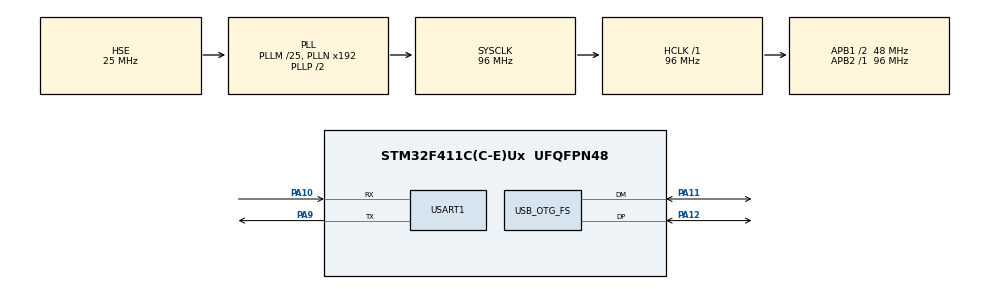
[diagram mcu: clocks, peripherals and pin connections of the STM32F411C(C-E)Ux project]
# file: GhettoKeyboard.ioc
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Dma.Request0=USART1_RX
Dma.USART1_RX.0.Direction=DMA_PERIPH_TO_MEMORY
Dma.USART1_RX.0.FIFOMode=DMA_FIFOMODE_DISABLE
Dma.USART1_RX.0.Instance=DMA2_Stream2
Dma.USART1_RX.0.MemDataAlignment=DMA_MDATAALIGN_BYTE
Dma.USART1_RX.0.MemInc=DMA_MINC_ENABLE
Dma.USART1_RX.0.Mode=DMA_CIRCULAR
Dma.USART1_RX.0.PeriphDataAlignment=DMA_PDATAALIGN_BYTE
Dma.USART1_RX.0.PeriphInc=DMA_PINC_DISABLE
Dma.USART1_RX.0.Priority=DMA_PRIORITY_LOW
FREERTOS.Tasks01=defaultTask,24,512,StartDefaultTask,Default,NULL,Dynamic,NULL,NULL
FREERTOS.configUSE_NEWLIB_REENTRANT=1
Mcu.Family=STM32F4
Mcu.Name=STM32F411C(C-E)Ux
Mcu.Package=UFQFPN48
NVIC.DMA2_Stream2_IRQn=true\:5\:0\:false\:false\:true\:true\:false\:true\:true
NVIC.OTG_FS_IRQn=true\:5\:0\:false\:false\:true\:true\:false\:true\:true
NVIC.PriorityGroup=NVIC_PRIORITYGROUP_4
NVIC.TIM1_UP_TIM10_IRQn=true\:15\:0\:false\:false\:true\:false\:false\:true\:true
NVIC.TimeBase=TIM1_UP_TIM10_IRQn
NVIC.TimeBaseIP=TIM10
NVIC.USART1_IRQn=true\:5\:0\:false\:false\:true\:true\:true\:true\:true
PA10.Mode=Asynchronous
PA10.Signal=USART1_RX
PA11.Mode=Device_Only
PA11.Signal=USB_OTG_FS_DM
PA12.Mode=Device_Only
PA12.Signal=USB_OTG_FS_DP
PA13.Mode=Serial_Wire
PA13.Signal=SYS_JTMS-SWDIO
PA14.Mode=Serial_Wire
PA14.Signal=SYS_JTCK-SWCLK
PA9.Mode=Asynchronous
PA9.Signal=USART1_TX
PH0\ -\ OSC_IN.Mode=HSE-External-Oscillator
PH0\ -\ OSC_IN.Signal=RCC_OSC_IN
PH1\ -\ OSC_OUT.Mode=HSE-External-Oscillator
PH1\ -\ OSC_OUT.Signal=RCC_OSC_OUT
ProjectManager.HeapSize=0x200
ProjectManager.StackSize=0x400
ProjectManager.TargetToolchain=STM32CubeIDE
RCC.48MHZClocksFreq_Value=48000000
RCC.AHBFreq_Value=96000000
RCC.APB1CLKDivider=RCC_HCLK_DIV2
RCC.APB1Freq_Value=48000000
RCC.APB1TimFreq_Value=96000000
RCC.APB2Freq_Value=96000000
RCC.APB2TimFreq_Value=96000000
RCC.CortexFreq_Value=96000000
RCC.HCLKFreq_Value=96000000
RCC.HSE_VALUE=25000000
RCC.HSI_VALUE=16000000
RCC.LSE_VALUE=32768
RCC.PLLM=25
RCC.SYSCLKFreq_VALUE=96000000
RCC.SYSCLKSource=RCC_SYSCLKSOURCE_PLLCLK
RCC.VCOOutputFreq_Value=192000000
USART1.VirtualMode=VM_ASYNC
USB_DEVICE.CLASS_NAME_FS=HID
USB_DEVICE.HID_FS_BINTERVAL=0x1
USB_DEVICE.VirtualMode=Hid
USB_DEVICE.VirtualModeFS=Hid_FS
USB_OTG_FS.VirtualMode=Device_Only
VP_FREERTOS_VS_CMSIS_V2.Mode=CMSIS_V2
VP_SYS_VS_tim10.Mode=TIM10
VP_USB_DEVICE_VS_USB_DEVICE_HID_FS.Mode=HID_FS
board=custom

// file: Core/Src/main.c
/* USER CODE BEGIN Header */
/**
  ******************************************************************************
  * @file           : main.c
  * @brief          : Main program body
  ******************************************************************************
  * @attention
  *
  * Copyright (c) 2022 STMicroelectronics.
  * All rights reserved.
  *
  * This software is licensed under terms that can be found in the LICENSE file
  * in the root directory of this software component.
  * If no LICENSE file comes with this software, it is provided AS-IS.
  *
  ******************************************************************************
  */
/* USER CODE END Header */
#include "main.h"
#include "cmsis_os.h"
#include "usb_device.h"

/* USER CODE BEGIN Includes */

#include "usbd_hid.h"
#include "usb_hid_keys.h"

/* USER CODE END Includes */

 UART_HandleTypeDef huart1;
DMA_HandleTypeDef hdma_usart1_rx;

/* Definitions for defaultTask */
osThreadId_t defaultTaskHandle;
const osThreadAttr_t defaultTask_attributes = {
  .name = "defaultTask",
  .stack_size = 512 * 4,
  .priority = (osPriority_t) osPriorityNormal,
};

void SystemClock_Config(void);
static void MX_GPIO_Init(void);
static void MX_DMA_Init(void);
static void MX_USART1_UART_Init(void);
void StartDefaultTask(void *argument);

/* USER CODE BEGIN 0 */

extern USBD_HandleTypeDef hUsbDeviceFS;

typedef struct __attribute__((packed)) {
	uint8_t MODIFIER;
	uint8_t RESERVED;
	uint8_t KEYCODES[6];
} subKeyBoard;

subKeyBoard keyBoardHIDsub = {0};

osTimerId_t keyTimers[6];
osSemaphoreId_t keysSemaphore;
osMutexId_t reportMutex;

uint8_t uartBuf[128];
uint16_t uartBufIdx;

/* USER CODE END 0 */

int main(void)
{

  /* MCU Configuration--------------------------------------------------------*/

  /* Reset of all peripherals, Initializes the Flash interface and the Systick. */
  HAL_Init();

  /* Configure the system clock */
  SystemClock_Config();

  /* Initialize all configured peripherals */
  MX_GPIO_Init();
  MX_DMA_Init();
  MX_USART1_UART_Init();
  /* USER CODE BEGIN 2 */

  HAL_Delay(500);

  /* USER CODE END 2 */

  /* Init scheduler */
  osKernelInitialize();

  /* Create the thread(s) */
  /* creation of defaultTask */
  defaultTaskHandle = osThreadNew(StartDefaultTask, NULL, &defaultTask_attributes);

  /* Start scheduler */
  osKernelStart();

  /* We should never get here as control is now taken by the scheduler */
  /* Infinite loop */
  while (1)
  {

  }
}

void SystemClock_Config(void)
{
  RCC_OscInitTypeDef RCC_OscInitStruct = {0};
  RCC_ClkInitTypeDef RCC_ClkInitStruct = {0};

  /** Configure the main internal regulator output voltage
  */
  __HAL_RCC_PWR_CLK_ENABLE();
  __HAL_PWR_VOLTAGESCALING_CONFIG(PWR_REGULATOR_VOLTAGE_SCALE1);

  /** Initializes the RCC Oscillators according to the specified parameters
  * in the RCC_OscInitTypeDef structure.
  */
  RCC_OscInitStruct.OscillatorType = RCC_OSCILLATORTYPE_HSE;
  RCC_OscInitStruct.HSEState = RCC_HSE_ON;
  RCC_OscInitStruct.PLL.PLLState = RCC_PLL_ON;
  RCC_OscInitStruct.PLL.PLLSource = RCC_PLLSOURCE_HSE;
  RCC_OscInitStruct.PLL.PLLM = 25;
  RCC_OscInitStruct.PLL.PLLN = 192;
  RCC_OscInitStruct.PLL.PLLP = RCC_PLLP_DIV2;
  RCC_OscInitStruct.PLL.PLLQ = 4;
  if (HAL_RCC_OscConfig(&RCC_OscInitStruct) != HAL_OK)
  {
    Error_Handler();
  }

  /** Initializes the CPU, AHB and APB buses clocks
  */
  RCC_ClkInitStruct.ClockType = RCC_CLOCKTYPE_HCLK|RCC_CLOCKTYPE_SYSCLK
                              |RCC_CLOCKTYPE_PCLK1|RCC_CLOCKTYPE_PCLK2;
  RCC_ClkInitStruct.SYSCLKSource = RCC_SYSCLKSOURCE_PLLCLK;
  RCC_ClkInitStruct.AHBCLKDivider = RCC_SYSCLK_DIV1;
  RCC_ClkInitStruct.APB1CLKDivider = RCC_HCLK_DIV2;
  RCC_ClkInitStruct.APB2CLKDivider = RCC_HCLK_DIV1;

  if (HAL_RCC_ClockConfig(&RCC_ClkInitStruct, FLASH_LATENCY_3) != HAL_OK)
  {
    Error_Handler();
  }
}

static void MX_USART1_UART_Init(void)
{

  huart1.Instance = USART1;
  huart1.Init.BaudRate = 115200;
  huart1.Init.WordLength = UART_WORDLENGTH_8B;
  huart1.Init.StopBits = UART_STOPBITS_1;
  huart1.Init.Parity = UART_PARITY_NONE;
  huart1.Init.Mode = UART_MODE_TX_RX;
  huart1.Init.HwFlowCtl = UART_HWCONTROL_NONE;
  huart1.Init.OverSampling = UART_OVERSAMPLING_16;
  if (HAL_UART_Init(&huart1) != HAL_OK)
  {
    Error_Handler();
  }

}

static void MX_DMA_Init(void)
{

  /* DMA controller clock enable */
  __HAL_RCC_DMA2_CLK_ENABLE();

  /* DMA interrupt init */
  /* DMA2_Stream2_IRQn interrupt configuration */
  HAL_NVIC_SetPriority(DMA2_Stream2_IRQn, 5, 0);
  HAL_NVIC_EnableIRQ(DMA2_Stream2_IRQn);

}

static void MX_GPIO_Init(void)
{

  /* GPIO Ports Clock Enable */
  __HAL_RCC_GPIOH_CLK_ENABLE();
  __HAL_RCC_GPIOA_CLK_ENABLE();

}

/* USER CODE BEGIN 4 */

void keyDown(uint8_t keyCode, uint8_t modifiers) {
	osMutexAcquire(reportMutex, HAL_MAX_DELAY);
	keyBoardHIDsub.MODIFIER = modifiers;
	USBD_HID_SendReport(&hUsbDeviceFS, (uint8_t*)&keyBoardHIDsub, sizeof(keyBoardHIDsub));
	osMutexRelease(reportMutex);

	osDelay(10);

	osSemaphoreAcquire(keysSemaphore, HAL_MAX_DELAY);
	osMutexAcquire(reportMutex, HAL_MAX_DELAY);
	for (uint8_t i = 6; i-- > 1;) {
		keyBoardHIDsub.KEYCODES[i] = keyBoardHIDsub.KEYCODES[i - 1];
	}
	keyBoardHIDsub.KEYCODES[0] = keyCode;
	USBD_HID_SendReport(&hUsbDeviceFS, (uint8_t*)&keyBoardHIDsub, sizeof(keyBoardHIDsub));
	osMutexRelease(reportMutex);

	for (uint8_t i = 0; i < 6; i++) {
		if (!osTimerIsRunning(keyTimers[i])) {
			osTimerStart(keyTimers[i], 100);
			return;
		}
	}

	Error_Handler(); //all timers taken???
}

void keyUP(void *argument) {
	osMutexAcquire(reportMutex, HAL_MAX_DELAY);
	keyBoardHIDsub.KEYCODES[6 - osSemaphoreGetCount(keysSemaphore) - 1] = 0;
	USBD_HID_SendReport(&hUsbDeviceFS, (uint8_t*)&keyBoardHIDsub, sizeof(keyBoardHIDsub));
	osMutexRelease(reportMutex);
	osSemaphoreRelease(keysSemaphore);
}

void keyIdle() {
	osMutexAcquire(reportMutex, HAL_MAX_DELAY);
	if (keyBoardHIDsub.MODIFIER != 0) {
		keyBoardHIDsub.MODIFIER = 0;
		USBD_HID_SendReport(&hUsbDeviceFS, (uint8_t*)&keyBoardHIDsub, sizeof(keyBoardHIDsub));
	}
	osMutexRelease(reportMutex);
}

uint8_t getChar() {
	uint32_t startTime = osKernelGetTickCount();
	while (uartBufIdx == sizeof(uartBuf) - __HAL_DMA_GET_COUNTER(huart1.hdmarx)) {
		osDelay(1);
		if (osKernelGetTickCount() > startTime + 50) {
			return 0;
		}
	}

	uint8_t val = uartBuf[uartBufIdx];
	uartBufIdx = (uartBufIdx + 1) % sizeof(uartBuf);

	char debugStr[10];
	sprintf(debugStr, "%02x\r\n", val);
	HAL_UART_Transmit(&huart1, (uint8_t*)debugStr, strlen(debugStr), HAL_MAX_DELAY);

	return val;
}

/* USER CODE END 4 */

void StartDefaultTask(void *argument)
{
  /* init code for USB_DEVICE */
  MX_USB_DEVICE_Init();
  /* USER CODE BEGIN 5 */

  	for (uint8_t i = 0; i < 6; i++) {
  		keyTimers[i] = osTimerNew(keyUP, osTimerOnce, NULL, NULL);
  	}
  	keysSemaphore = osSemaphoreNew(6, 6, NULL);
  	reportMutex = osMutexNew(NULL);

	HAL_UART_Receive_DMA(&huart1, uartBuf, sizeof(uartBuf));

	for (;;) {
		uint8_t c = getChar();

		if (c >= 'A' && c <= 'Z') {
			keyDown(c - 'A' + KEY_A, KEY_MOD_LSHIFT);
		}
		else if (c >= 'a' && c <= 'z') {
			keyDown(c - 'a' + KEY_A, 0);
		}
		else if (c >= '1' && c <= '9') {
			keyDown(c - '1' + KEY_1, 0);
		}
		else switch(c) {
		case 0: keyIdle(); break;
		case '`': keyDown(KEY_GRAVE, 0); break;
		case '~': keyDown(KEY_GRAVE, KEY_MOD_LSHIFT); break;
		case ' ': keyDown(KEY_SPACE, 0); break;
		case '!': keyDown(KEY_1, KEY_MOD_LSHIFT); break;
		case '@': keyDown(KEY_2, KEY_MOD_LSHIFT); break;
		case '#': keyDown(KEY_3, KEY_MOD_LSHIFT); break;
		case '$': keyDown(KEY_4, KEY_MOD_LSHIFT); break;
		case '%': keyDown(KEY_5, KEY_MOD_LSHIFT); break;
		case '^': keyDown(KEY_6, KEY_MOD_LSHIFT); break;
		case '&': keyDown(KEY_7, KEY_MOD_LSHIFT); break;
		case '*': keyDown(KEY_8, KEY_MOD_LSHIFT); break;
		case '(': keyDown(KEY_9, KEY_MOD_LSHIFT); break;
		case ')': keyDown(KEY_0, KEY_MOD_LSHIFT); break;
		case '0': keyDown(KEY_0, 0); break;
		case '-': keyDown(KEY_MINUS, 0); break;
		case '_': keyDown(KEY_MINUS, KEY_MOD_LSHIFT); break;
		case '=': keyDown(KEY_EQUAL, 0); break;
		case '+': keyDown(KEY_EQUAL, KEY_MOD_LSHIFT); break;
		case '[': keyDown(KEY_LEFTBRACE, 0); break;
		case '{': keyDown(KEY_LEFTBRACE, KEY_MOD_LSHIFT); break;
		case ']': keyDown(KEY_RIGHTBRACE, 0); break;
		case '}': keyDown(KEY_RIGHTBRACE, KEY_MOD_LSHIFT); break;
		case '\\': keyDown(KEY_BACKSLASH, 0); break;
		case '|': keyDown(KEY_BACKSLASH, KEY_MOD_LSHIFT); break;
		case ';': keyDown(KEY_SEMICOLON, 0); break;
		case ':': keyDown(KEY_SEMICOLON, KEY_MOD_LSHIFT); break;
		case '\'': keyDown(KEY_APOSTROPHE, 0); break;
		case '"': keyDown(KEY_APOSTROPHE, KEY_MOD_LSHIFT); break;
		case ',': keyDown(KEY_COMMA, 0); break;
		case '<': keyDown(KEY_COMMA, KEY_MOD_LSHIFT); break;
		case '.': keyDown(KEY_DOT, 0); break;
		case '>': keyDown(KEY_DOT, KEY_MOD_LSHIFT); break;
		case '/': keyDown(KEY_SLASH, 0); break;
		case '?': keyDown(KEY_SLASH, KEY_MOD_LSHIFT); break;
		case 0x09: keyDown(KEY_TAB, 0); break;
		case 0x0d: keyDown(KEY_ENTER, 0); break;
		case 0x1b: { //ESC
			switch(c = getChar()) {
			case '[': {
				switch(c = getChar()) {
				case 0x31: {
					switch (getChar()) {
					case '~': keyDown(KEY_HOME, 0); break;
					case 0x31: if (getChar() == '~') keyDown(KEY_F1, 0); break;
					case 0x32: if (getChar() == '~') keyDown(KEY_F2, 0); break;
					case 0x33: if (getChar() == '~') keyDown(KEY_F3, 0); break;
					case 0x34: if (getChar() == '~') keyDown(KEY_F4, 0); break;
					case 0x35: if (getChar() == '~') keyDown(KEY_F5, 0); break;
					case 0x37: if (getChar() == '~') keyDown(KEY_F6, 0); break;
					case 0x38: if (getChar() == '~') keyDown(KEY_F7, 0); break;
					case 0x39: if (getChar() == '~') keyDown(KEY_F8, 0); break;
					}
				} break;
				case 0x32: {
					switch (getChar()) {
					case '~': keyDown(KEY_INSERT, 0); break;
					case 0x30: if (getChar() == '~') keyDown(KEY_F9, 0); break;
					case 0x31: if (getChar() == '~') keyDown(KEY_F10, 0); break;
					case 0x33: if (getChar() == '~') keyDown(KEY_F11, 0); break;
					case 0x34: if (getChar() == '~') keyDown(KEY_F12, 0); break;
					}
				} break;
				case 0x33: if (getChar() == '~') keyDown(KEY_DELETE, 0); break;
				case 0x34: if (getChar() == '~') keyDown(KEY_END, 0); break;
				case 0x35: if (getChar() == '~') keyDown(KEY_PAGEUP, 0); break;
				case 0x36: if (getChar() == '~') keyDown(KEY_PAGEDOWN, 0); break;
				case 0x41: keyDown(KEY_UP, 0); break;
				case 0x42: keyDown(KEY_DOWN, 0); break;
				case 0x43: keyDown(KEY_RIGHT, 0); break;
				case 0x44: keyDown(KEY_LEFT, 0); break;
				} break;
			} break;
			case 0: keyDown(KEY_ESC, 0);
			}
		} break;
		case 0x7f: keyDown(KEY_BACKSPACE, 0); break;
		default:
			if (c >= 1 && c <= 0x1A) {
				keyDown(c - 1 + KEY_A, KEY_MOD_LCTRL);
			}
		}
	}
  /* USER CODE END 5 */
}

void HAL_TIM_PeriodElapsedCallback(TIM_HandleTypeDef *htim)
{
  if (htim->Instance == TIM10) {
    HAL_IncTick();
  }
}

void Error_Handler(void)
{
  __disable_irq();
  while (1)
  {
  }
}
